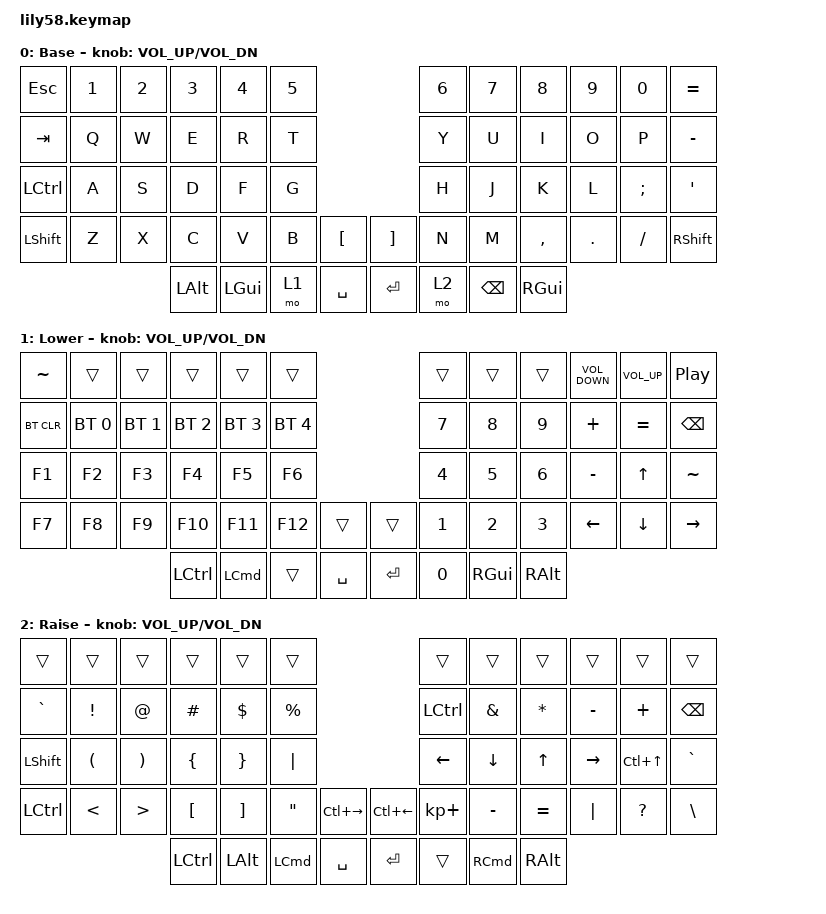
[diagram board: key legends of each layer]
/*
 * Copyright (c) 2020 The ZMK Contributors
 *
 * SPDX-License-Identifier: MIT
 */

#include <behaviors.dtsi>
#include <dt-bindings/zmk/bt.h>
#include <dt-bindings/zmk/keys.h>

/ {
    keymap {
        compatible = "zmk,keymap";

        default_layer {
            // ------------------------------------------------------------------------------------------------------------
            // |  ESC  |  1  |  2  |  3   |  4   |  5   |                   |  6   |  7    |  8    |  9   |   0   |   `   |
            // |  TAB  |  Q  |  W  |  E   |  R   |  T   |                   |  Y   |  U    |  I    |  O   |   P   |   -   |
            // |  CTRL |  A  |  S  |  D   |  F   |  G   |                   |  H   |  J    |  K    |  L   |   ;   |   '   |
            // | SHIFT |  Z  |  X  |  C   |  V   |  B   |   "["  |  |  "]"  |  N   |  M    |  ,    |  .   |   /   | SHIFT |
            //                     | ALT  | GUI  | LOWER|  SPACE |  | ENTER | RAISE| BSPC  | GUI   |

            display-name = "Base";
            bindings = <
&kp ESC           &kp N1  &kp N2  &kp N3    &kp N4    &kp N5                         &kp N6  &kp N7    &kp N8     &kp N9   &kp N0    &kp EQUAL
&kp TAB           &kp Q   &kp W   &kp E     &kp R     &kp T                          &kp Y   &kp U     &kp I      &kp O    &kp P     &kp MINUS
&kp LEFT_CONTROL  &kp A   &kp S   &kp D     &kp F     &kp G                          &kp H   &kp J     &kp K      &kp L    &kp SEMI  &kp SQT
&kp LEFT_SHIFT    &kp Z   &kp X   &kp C     &kp V     &kp B   &kp LBKT     &kp RBKT  &kp N   &kp M     &kp COMMA  &kp DOT  &kp FSLH  &kp RSHFT
                                  &kp LALT  &kp LGUI  &mo 1   &kp SPACE    &kp RET   &mo 2   &kp BSPC  &kp RGUI
            >;

            sensor-bindings = <&inc_dec_kp C_VOL_UP C_VOL_DN>;
        };

        lower_layer {
            // ------------------------------------------------------------------------------------------------------------
            // | BTCLR | BT1 | BT2 |  BT3 |  BT4 |  BT5 |                   |      |       |       |      |       |       |
            // |  F1   |  F2 |  F3 |  F4  |  F5  |  F6  |                   |  F7  |  F8   |  F9   |  F10 |  F11  |  F12  |
            // |   `   |  !  |  @  |  #   |  $   |  %   |                   |  ^   |  &    |  *    |  (   |   )   |   ~   |
            // |       |     |     |      |      |      |        |  |       |      |  _    |  +    |  {   |   }   |  "|"  |
            //                     |      |      |      |        |  |       |      |       |       |

            display-name = "Lower";
            bindings = <
&kp TILDE   &trans        &trans        &trans            &trans            &trans                                &trans        &trans         &trans         &kp C_VOLUME_DOWN  &kp C_VOLUME_UP  &kp C_PLAY_PAUSE
&bt BT_CLR  &bt BT_SEL 0  &bt BT_SEL 1  &bt BT_SEL 2      &bt BT_SEL 3      &bt BT_SEL 4                          &kp NUMBER_7  &kp NUMBER_8   &kp NUMBER_9   &kp PLUS           &kp EQUAL        &kp BACKSPACE
&kp F1      &kp F2        &kp F3        &kp F4            &kp F5            &kp F6                                &kp NUMBER_4  &kp NUMBER_5   &kp NUMBER_6   &kp MINUS          &kp UP_ARROW     &kp TILDE
&kp F7      &kp F8        &kp F9        &kp F10           &kp F11           &kp F12       &trans       &trans     &kp NUMBER_1  &kp NUMBER_2   &kp NUMBER_3   &kp LEFT           &kp DOWN         &kp RIGHT
                                        &kp LEFT_CONTROL  &kp LEFT_COMMAND  &trans        &kp SPACE    &kp ENTER  &kp NUMBER_0  &kp RIGHT_GUI  &kp RIGHT_ALT
            >;

            sensor-bindings = <&inc_dec_kp C_VOL_UP C_VOL_DN>;
        };

        raise_layer {
            // ------------------------------------------------------------------------------------------------------------
            // |       |     |     |      |      |      |                   |      |       |       |      |       |       |
            // |   `   |  1  |  2  |  3   |  4   |  5   |                   |  6   |   7   |   8   |  9   |   0   |       |
            // |   F1  |  F2 |  F3 |  F4  |  F5  |  F6  |                   |      |   <-  |   v   |  ^   |  ->   |       |
            // |   F7  |  F8 |  F9 |  F10 |  F11 |  F12 |        |  |       |  +   |   -   |   =   |  [   |   ]   |   \   |
            //                     |      |      |      |        |  |       |      |       |       |

            display-name = "Raise";
            bindings = <
&trans            &trans           &trans            &trans            &trans             &trans                                            &trans       &trans             &trans         &trans     &trans            &trans
&kp GRAVE         &kp EXCLAMATION  &kp AT_SIGN       &kp HASH          &kp DOLLAR         &kp PERCENT                                       &kp LCTRL    &kp AMPERSAND      &kp ASTERISK   &kp MINUS  &kp PLUS          &kp BACKSPACE
&kp LEFT_SHIFT    &kp LPAR         &kp RPAR          &kp LEFT_BRACE    &kp RIGHT_BRACE    &kp PIPE                                          &kp LEFT     &kp DOWN           &kp UP_ARROW   &kp RIGHT  &kp LC(UP_ARROW)  &kp GRAVE
&kp LEFT_CONTROL  &kp LESS_THAN    &kp GREATER_THAN  &kp LEFT_BRACKET  &kp RIGHT_BRACKET  &kp DOUBLE_QUOTES  &kp LC(RIGHT)    &kp LC(LEFT)  &kp KP_PLUS  &kp MINUS          &kp EQUAL      &kp PIPE   &kp QUESTION      &kp BSLH
                                                     &kp LEFT_CONTROL  &kp LEFT_ALT       &kp LEFT_COMMAND   &kp SPACE        &kp ENTER     &trans       &kp RIGHT_COMMAND  &kp RIGHT_ALT
            >;

            sensor-bindings = <&inc_dec_kp C_VOL_UP C_VOL_DN>;
        };

        extra_1 { status = "reserved"; };

        extra_2 { status = "reserved"; };

        extra_3 { status = "reserved"; };
    };
};
